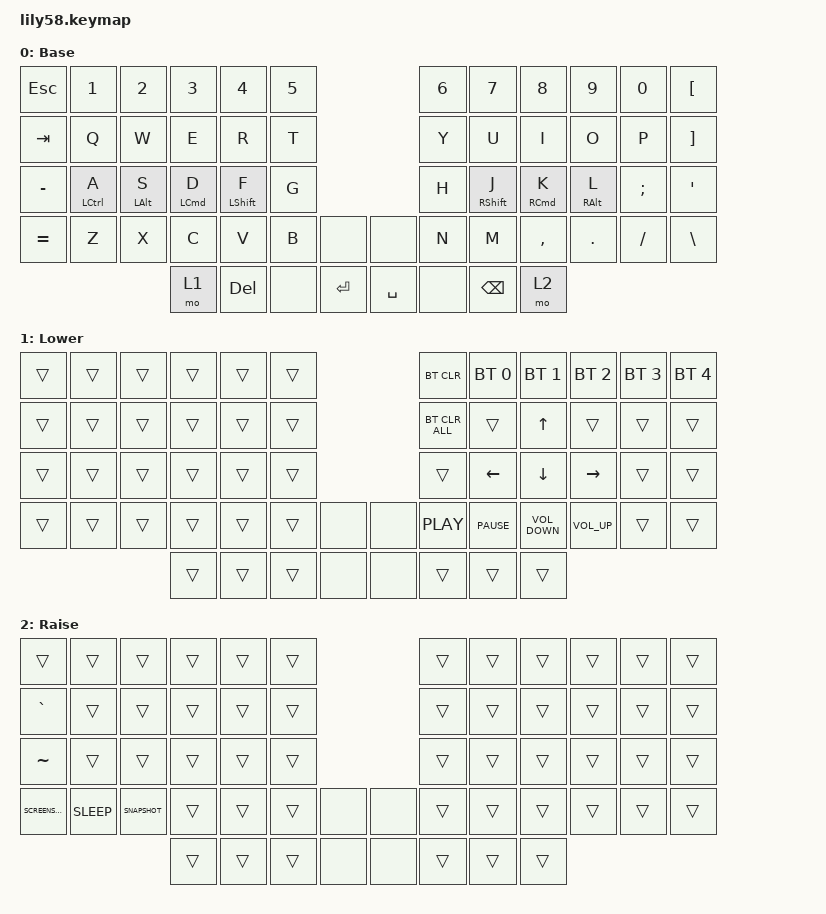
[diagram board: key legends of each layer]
/*
 * Copyright (c) 2020 The ZMK Contributors
 *
 * SPDX-License-Identifier: MIT
 */

#include <behaviors.dtsi>
#include <dt-bindings/zmk/bt.h>
#include <dt-bindings/zmk/keys.h>

/ {
    behaviors {
        longPress: longPress {
            compatible = "zmk,behavior-hold-tap";
            label = "LONGPRESS";
            bindings = <&kp>, <&kp>;

            #binding-cells = <2>;
            tapping-term-ms = <350>;
            flavor = "tap-preferred";
        };

        HMShiftR: HMShiftR {
            compatible = "zmk,behavior-hold-tap";
            label = "HMSHIFTR";
            bindings = <&kp>, <&kp>;

            #binding-cells = <2>;
            tapping-term-ms = <200>;
            hold-while-undecided;
            hold-trigger-key-positions = <52 5 4 3 2 1 0 12 13 14 15 16 17 29 28 27 26 25 24 36 37 38 39 40 41 51 50 0 1 2 3 4 5 12 13 14 15 16 17 24 25 26 27 28 29 36 37 38 39 40 41 50 51 52 26 28 29 38 39 40 41 50 51 52>;
            hold-trigger-on-release;
        };

        HMShiftL: HMShiftL {
            compatible = "zmk,behavior-hold-tap";
            label = "HMSHIFTL";
            bindings = <&kp>, <&kp>;

            #binding-cells = <2>;
            tapping-term-ms = <200>;
            hold-while-undecided;
            hold-trigger-on-release;
            hold-trigger-key-positions = <6 7 8 9 10 11 18 19 20 21 22 23 30 31 32 33 34 35 44 45 46 47 48 49 55 56 57>;
        };

        HMR: HMR {
            compatible = "zmk,behavior-hold-tap";
            label = "HMR";
            bindings = <&kp>, <&kp>;

            #binding-cells = <2>;
            tapping-term-ms = <200>;
            hold-while-undecided;
            hold-trigger-key-positions = <52 5 4 3 2 1 0 12 13 14 15 16 17 29 28 27 26 25 24 36 37 38 39 40 41 51 50 0 1 2 3 4 5 12 13 14 15 16 17 24 25 26 27 28 29 36 37 38 39 40 41 50 51 52 26 28 29 38 39 40 41 50 51 52>;
            hold-trigger-on-release;
            flavor = "tap-preferred";
        };

        HML: HML {
            compatible = "zmk,behavior-hold-tap";
            label = "HML";
            bindings = <&kp>, <&kp>;

            #binding-cells = <2>;
            tapping-term-ms = <200>;
            hold-while-undecided;
            hold-trigger-on-release;
            hold-trigger-key-positions = <6 7 8 9 10 11 18 19 20 21 22 23 30 31 32 33 34 35 44 45 46 47 48 49 55 56 57>;
            flavor = "tap-preferred";
        };
    };

    keymap {
        compatible = "zmk,keymap";

        default_layer {
            // ------------------------------------------------------------------------------------------------------------
            // |  ESC  |  1  |  2  |  3   |  4   |  5   |                   |  6   |  7    |  8    |  9   |   0   |   `   |
            // |  TAB  |  Q  |  W  |  E   |  R   |  T   |                   |  Y   |  U    |  I    |  O   |   P   |   -   |
            // |  CTRL |  A  |  S  |  D   |  F   |  G   |                   |  H   |  J    |  K    |  L   |   ;   |   '   |
            // | SHIFT |  Z  |  X  |  C   |  V   |  B   |  n/a   |  |  n/a  |  N   |  M    |  ,    |  .   |   /   | SHIFT |
            //                     | GUI  | LOWER| SPACE|  n/a   |  |  n/a  | ENTER| RAISE | BSPC  |
            // Note: Silakka54 has 54 keys - the 4 positions marked n/a are not present (inner thumb + encoder positions)

            display-name = "Base";
            bindings = <
&kp ESC    &kp N1        &kp N2           &kp N3               &kp N4                  &kp N5                          &kp N6  &kp N7                   &kp N8                &kp N9            &kp N0    &kp LEFT_BRACKET
&kp TAB    &kp Q         &kp W            &kp E                &kp R                   &kp T                           &kp Y   &kp U                    &kp I                 &kp O             &kp P     &kp RIGHT_BRACKET
&kp MINUS  &HML LCTRL A  &HML LEFT_ALT S  &HML LEFT_COMMAND D  &HMShiftL LEFT_SHIFT F  &kp G                           &kp H   &HMShiftR RIGHT_SHIFT J  &HMR RIGHT_COMMAND K  &HMR RIGHT_ALT L  &kp SEMI  &kp SQT
&kp EQUAL  &kp Z         &kp X            &kp C                &kp V                   &kp B   &none        &none      &kp N   &kp M                    &kp COMMA             &kp DOT           &kp FSLH  &kp BACKSLASH
                                          &mo 1                &kp DELETE              &none   &kp ENTER    &kp SPACE  &none   &kp BACKSPACE            &mo 2
            >;
        };

        lower_layer {
            // ------------------------------------------------------------------------------------------------------------
            // | BTCLR | BT1 | BT2 |  BT3 |  BT4 |  BT5 |                   | USB  | BLE   |       |      |       |BTCLRALL|
            // |  F1   |  F2 |  F3 |  F4  |  F5  |  F6  |                   |  F7  |  F8   |  F9   |  F10 |  F11  |  F12  |
            // |   `   |  !  |  @  |  #   |  $   |  %   |                   |  ^   |  &    |  *    |  (   |   )   |   ~   |
            // |       |     |     |      |      |      |  n/a   |  |  n/a  |      |  _    |  +    |  {   |   }   |  "|"  |
            //                     |      |      |      |  n/a   |  |  n/a  |      |       |       |

            display-name = "Lower";
            bindings = <
&trans  &trans  &trans  &trans  &trans  &trans                  &bt BT_CLR      &bt BT_SEL 0  &bt BT_SEL 1       &bt BT_SEL 2     &bt BT_SEL 3  &bt BT_SEL 4
&trans  &trans  &trans  &trans  &trans  &trans                  &bt BT_CLR_ALL  &trans        &kp UP_ARROW       &trans           &trans        &trans
&trans  &trans  &trans  &trans  &trans  &trans                  &trans          &kp LEFT      &kp DOWN_ARROW     &kp RIGHT        &trans        &trans
&trans  &trans  &trans  &trans  &trans  &trans  &none    &none  &kp C_PLAY      &kp C_PAUSE   &kp C_VOLUME_DOWN  &kp C_VOLUME_UP  &trans        &trans
                        &trans  &trans  &trans  &none    &none  &trans          &trans        &trans
            >;
        };

        raise_layer {
            // ------------------------------------------------------------------------------------------------------------
            // |       |     |     |      |      |      |                   |      |       |       |      |       |       |
            // |   `   |  1  |  2  |  3   |  4   |  5   |                   |  6   |   7   |   8   |  9   |   0   |       |
            // |   F1  |  F2 |  F3 |  F4  |  F5  |  F6  |                   |      |   <-  |   v   |  ^   |  ->   |       |
            // |   F7  |  F8 |  F9 |  F10 |  F11 |  F12 |  n/a   |  |  n/a  |  +   |   -   |   =   |  [   |   ]   |   \   |
            //                     |      |      |      |  n/a   |  |  n/a  |      |       |       |

            display-name = "Raise";
            bindings = <
&trans             &trans       &trans          &trans  &trans  &trans                  &trans  &trans  &trans  &trans  &trans  &trans
&kp GRAVE          &trans       &trans          &trans  &trans  &trans                  &trans  &trans  &trans  &trans  &trans  &trans
&kp TILDE          &trans       &trans          &trans  &trans  &trans                  &trans  &trans  &trans  &trans  &trans  &trans
&kp K_SCREENSAVER  &kp K_SLEEP  &kp C_SNAPSHOT  &trans  &trans  &trans  &none    &none  &trans  &trans  &trans  &trans  &trans  &trans
                                                &trans  &trans  &trans  &none    &none  &trans  &trans  &trans
            >;
        };

        extra_1 { status = "reserved"; };

        extra_2 { status = "reserved"; };

        extra_3 { status = "reserved"; };
    };
};
